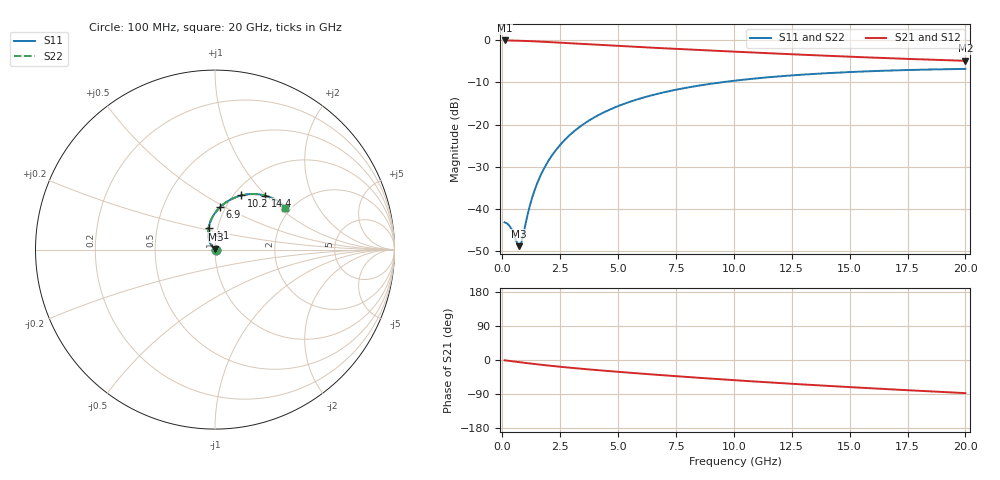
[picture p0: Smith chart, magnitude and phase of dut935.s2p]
! Touchstone file exported from HFSS 2024.1.0
!  File:  C:/UserFiles/LocalFiles/RDL_TSV_Batchsim/temp_RDL_TSV_935_1779961660.aedt
!  Generated:  06:09:12 PM May 28, 2026
!  Design:  RDL_TSV
!  Project:  temp_RDL_TSV_935_1779961660
!  Setup:  Setup1
!  Solution:  Sweep
! Variables:
!  dtsv = 5.49um
!  hbump = 3um
!  htsv = 77.93um
!  ldown = 101.03um
!  lrdl = 133.37um
!  p = 40
!  p1 = 56.48um
!  rhole = 10um
!  subl = 836.57um
!  t = 450um
!  tdown = 2.98um
!  trdl = 3.52um
!  viad = 10um
!  wdown = 15.58um
!  wrdl = 22.26um
!  xbump = 18um
# GHz S MA R 50.000000
! Terminal data exported
! Port[1] = TM1_1_T1
! Port[2] = TM1_4_T1
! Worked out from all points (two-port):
!   200 points, 100 MHz to 20 GHz, reference 50 ohm
!   highest |S21| = -0.06 dB at 100 MHz (marker M1); lowest = -4.9 dB at 20 GHz (marker M2)
!   |S21| within 3 dB of the highest: start of sweep to 11.38 GHz
!   lowest |S11| = -48.9 dB at 700 MHz (marker M3), VSWR 1.01, Z = 50.2 + j0.29 ohm
!   |S11| at or under -10 dB: start of sweep to 9.455 GHz
!   |S22| runs from -48.9 to -6.8 dB; largest |S21 - S12| = 5e-15
!   S11 on the Smith chart (normalised r, x): 100 MHz: 1.01, +0.00; 4.1 GHz: 0.90, +0.22; 6.9 GHz: 0.94, +0.47; 10.2 GHz: 1.08, +0.73; 14.4 GHz: 1.37, +0.99; 20 GHz: 1.87, +1.10
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0.1  0.006914 3.2  0.9928 -0.8  0.9928 -0.8  0.006915 3.2
! Gamma 0 0 0 0
! Port Impedance 50 0 50 0
0.3  0.006341 9.1  0.9915 -2.4  0.9915 -2.4  0.006342 9.1
0.4  0.005735 13.4  0.9904 -3.2  0.9904 -3.2  0.005737 13.4
0.7  0.003606 53.2  0.986 -5.5  0.986 -5.5  0.003608 53.1
0.8  0.003755 80.2  0.9841 -6.3  0.9841 -6.3  0.003753 80.1
1.1  0.008682 123.4  0.9774 -8.5  0.9774 -8.5  0.008669 123.3
1.3  0.01384 129.8  0.9721 -10.0  0.9721 -10.0  0.01382 129.7
1.5  0.01983 131.4  0.9663 -11.4  0.9663 -11.4  0.0198 131.4
1.8  0.02998 130.5  0.9569 -13.4  0.9569 -13.4  0.02995 130.4
2.1  0.04122 128.0  0.9469 -15.4  0.9469 -15.4  0.04117 127.9
2.5  0.05738 123.7  0.9333 -17.9  0.9333 -17.9  0.05732 123.7
3.5  0.1007 112.6  0.8996 -23.6  0.8996 -23.6  0.1006 112.6
4.1  0.127 106.4  0.8807 -26.7  0.8807 -26.7  0.1268 106.4
5.3  0.1775 95.4  0.8458 -32.7  0.8458 -32.7  0.1774 95.4
6.8  0.2345 83.9  0.8064 -39.6  0.8064 -39.6  0.2343 83.9
6.9  0.2381 83.2  0.8039 -40.1  0.8039 -40.1  0.2378 83.2
10.1  0.3325 64.7  0.7296 -53.6  0.7296 -53.6  0.3322 64.7
10.2  0.3349 64.2  0.7275 -54.0  0.7275 -54.0  0.3346 64.2
13.4  0.3972 50.6  0.6643 -66.0  0.6643 -66.0  0.3968 50.5
14.4  0.4114 47.0  0.647 -69.5  0.647 -69.5  0.411 46.9
16.7  0.4363 39.6  0.6112 -77.2  0.6112 -77.2  0.4359 39.5
20  0.4567 30.7  0.5698 -87.4  0.5698 -87.4  0.4563 30.7
